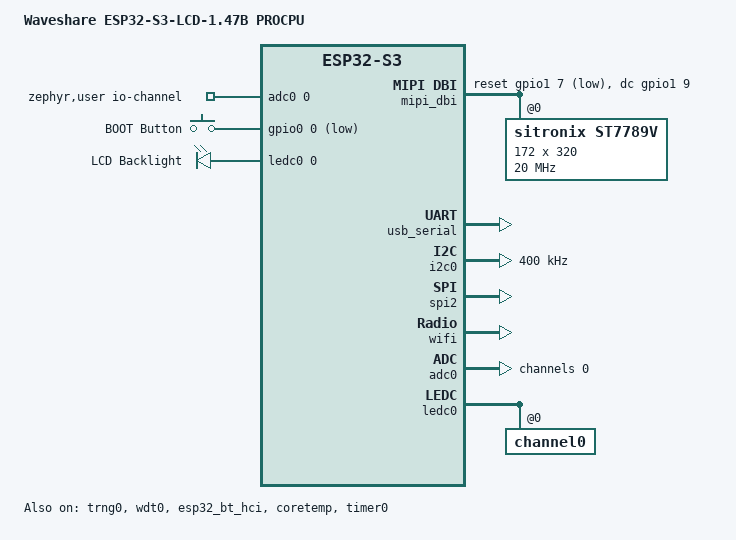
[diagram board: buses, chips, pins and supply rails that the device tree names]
/*
 * Waveshare ESP32-S3-LCD-1.47B (rev B3) PROCPU
 */

/dts-v1/;
#include <espressif/esp32s3/esp32s3_wroom_n8r8.dtsi>
#include "esp32s3_lcd_147b-pinctrl.dtsi"
#include <zephyr/dt-bindings/display/panel.h>
#include <zephyr/dt-bindings/input/input-event-codes.h>
#include <zephyr/dt-bindings/mipi_dbi/mipi_dbi.h>
#include <zephyr/dt-bindings/pwm/pwm.h>

/ {
	model = "Waveshare ESP32-S3-LCD-1.47B PROCPU";
	compatible = "waveshare,esp32-s3-lcd-1.47b";

	aliases {
		i2c-0 = &i2c0;
		sw0 = &button0;
		watchdog0 = &wdt0;
		lcd-backlight = &lcd_backlight;
	};

	chosen {
		zephyr,sram = &sram0;
		zephyr,console = &usb_serial;
		zephyr,shell-uart = &usb_serial;
		zephyr,flash = &flash0;
		zephyr,code-partition = &slot0_partition;
		zephyr,display = &st7789v;
		zephyr,bt-hci = &esp32_bt_hci;
		zephyr,settings-partition = &storage_partition;
	};

	zephyr,user {
		io-channels = <&adc0 0>; /* GPIO1 = IDF ADC1 CH0 */
	};

	buttons {
		compatible = "gpio-keys";
		button0: button_0 {
			gpios = <&gpio0 0 (GPIO_PULL_UP | GPIO_ACTIVE_LOW)>;
			label = "BOOT Button";
			zephyr,code = <INPUT_KEY_0>;
		};
	};

	pwmleds {
		compatible = "pwm-leds";
		lcd_backlight: lcd_backlight {
			label = "LCD Backlight";
			pwms = <&ledc0 0 PWM_KHZ(1) PWM_POLARITY_NORMAL>;
		};
	};

	mipi_dbi {
		compatible = "zephyr,mipi-dbi-spi";
		spi-dev = <&spi2>;
		dc-gpios = <&gpio1 9 GPIO_ACTIVE_HIGH>;   /* GPIO41 */
		reset-gpios = <&gpio1 7 GPIO_ACTIVE_LOW>; /* GPIO39 */
		write-only;
		#address-cells = <1>;
		#size-cells = <0>;

		st7789v: st7789v@0 {
			compatible = "sitronix,st7789v";
			reg = <0>;
			/* GPIO-matrix SPI2 (CLK 40 / MOSI 45 / CS 42), not the FSPI
			 * IO_MUX pins. Matrix routing is specified to 20 MHz;
			 * 40 MHz here double-faulted the PRO CPU (invalid SP). */
			mipi-max-frequency = <20000000>;
			width = <172>;
			height = <320>;
			x-offset = <34>;
			y-offset = <0>;
			vcom = <0x28>;
			gctrl = <0x35>;
			vrhs = <0x10>;
			vdvs = <0x20>;
			mdac = <0x00>;
			gamma = <0x01>;
			colmod = <0x55>;
			lcm = <0x0c>;
			porch-param = [0c 0c 00 33 33];
			cmd2en-param = [5a 69 02 00];
			pwctrl1-param = [a4 a1];
			pvgam-param = [d0 00 02 07 0a 28 32 44 42 06 0e 12 14 17];
			nvgam-param = [d0 00 02 07 0a 28 31 54 47 0e 1c 17 1b 1e];
			ram-param = [00 E0];
			rgb-param = [40 02 14];
			mipi-mode = "MIPI_DBI_MODE_SPI_4WIRE";
		};
	};
};

&flash0 {
	status = "okay";
	reg = <0x0 DT_SIZE_M(16)>;

	partitions {
		compatible = "fixed-partitions";
		#address-cells = <1>;
		#size-cells = <1>;

		boot_partition: partition@0 {
			label = "mcuboot";
			reg = <0x00000000 0x00010000>;
			read-only;
		};

		/* 3 MiB slots so a desk -Og image fits. 16 MB flash; the tail
		 * (scratch/NVS/coredump/appdata) moved up. A USB reflash is
		 * required — old absolute NVS/appdata offsets are not reused. */
		slot0_partition: partition@10000 {
			label = "image-0";
			reg = <0x00010000 0x00300000>;
		};

		slot1_partition: partition@310000 {
			label = "image-1";
			reg = <0x00310000 0x00300000>;
		};

		/* McUboot SWAP_USING_SCRATCH only — never store app data here. */
		scratch_partition: partition@610000 {
			label = "image-scratch";
			reg = <0x00610000 0x00040000>;
		};

		storage_partition: partition@650000 {
			label = "storage";
			reg = <0x00650000 0x00008000>;
		};

		coredump_partition: partition@658000 {
			label = "coredump-partition";
			reg = <0x00658000 DT_SIZE_K(16)>;
		};

		/* Survives OTA: vibro refs, crash ring, verdict spool (was wrongly on scratch). */
		appdata_partition: partition@65c000 {
			label = "app-data";
			reg = <0x0065c000 0x00040000>;
		};
	};
};

&usb_serial {
	status = "okay";
};

&gpio0 {
	status = "okay";
};

&gpio1 {
	status = "okay";
};

&i2c0 {
	status = "okay";
	clock-frequency = <I2C_BITRATE_FAST>;
	scl-timeout-us = <20000>;
	pinctrl-0 = <&i2c0_default>;
	pinctrl-names = "default";
};

&spi2 {
	status = "okay";
	#address-cells = <1>;
	#size-cells = <0>;
	pinctrl-0 = <&spim2_default>;
	pinctrl-names = "default";
	cs-gpios = <&gpio1 10 GPIO_ACTIVE_LOW>; /* GPIO42 */
};

&spi3 {
	status = "disabled";
};

&trng0 {
	status = "okay";
};

&wdt0 {
	status = "okay";
};

&esp32_bt_hci {
	status = "okay";
};

&wifi {
	status = "okay";
};

/* GPIO1 battery sense: IDF ADC_UNIT_1 (= Zephyr adc0), not adc1 (ADC2). */
&adc0 {
	status = "okay";
	#address-cells = <1>;
	#size-cells = <0>;

	channel@0 {
		reg = <0>;
		zephyr,gain = "ADC_GAIN_1_4";
		zephyr,reference = "ADC_REF_INTERNAL";
		zephyr,acquisition-time = <ADC_ACQ_TIME_DEFAULT>;
		zephyr,resolution = <12>;
	};
};

&adc1 {
	status = "disabled";
};

&coretemp {
	status = "okay";
};

&ledc0 {
	pinctrl-0 = <&ledc0_default>;
	pinctrl-names = "default";
	status = "okay";
	#address-cells = <1>;
	#size-cells = <0>;
	channel0@0 {
		reg = <0x0>;
		timer = <0>;
	};
};

&timer0 {
	status = "okay";
};
